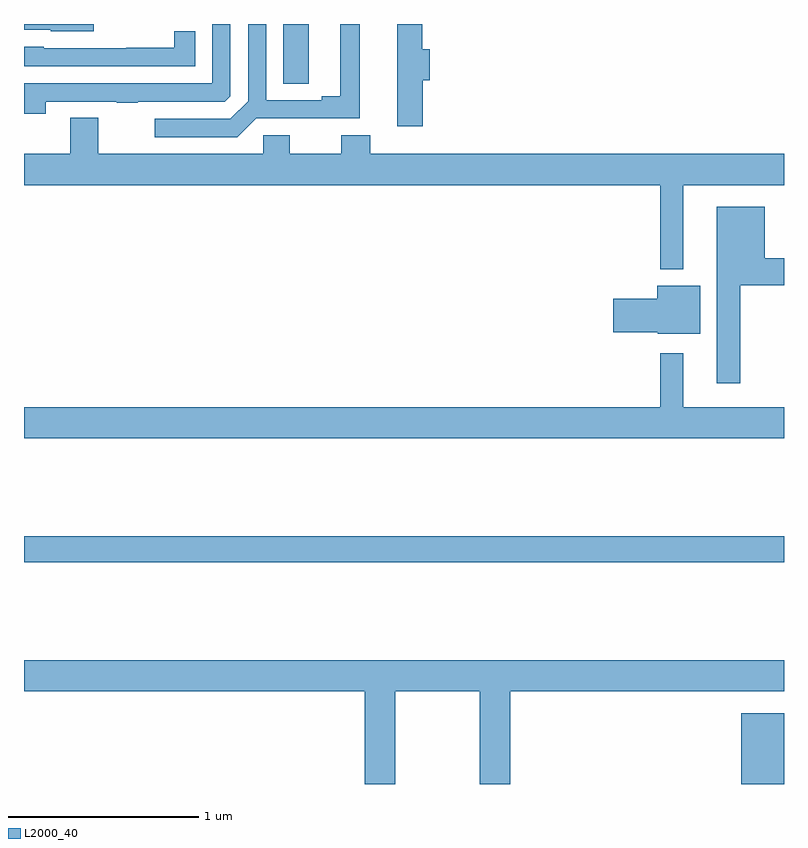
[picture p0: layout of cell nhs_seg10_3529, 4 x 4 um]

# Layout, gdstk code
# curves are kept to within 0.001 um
import gdstk
lib = gdstk.Library(unit=1e-6, precision=1e-09)
def R(c, l, rs):  # rectangles x0, y0, x1, y1
    for r in rs: c.add(gdstk.rectangle(r[:2], r[2:], *l))
def P(c, l, *ps):  # polygons
    for p in ps: c.add(gdstk.Polygon(p, *l))
L2000_40 = (2000, 40)

nhs_seg10_3529 = lib.new_cell('nhs_seg10_3529')
R(nhs_seg10_3529, L2000_40, [(306.776,1294.5,307,1294.873), (303,1295.668,307,1295.804), (304.364,1298.185,304.498,1298.5)])
P(nhs_seg10_3529, L2000_40, [(303.366,1298.5),(303,1298.5),(303,1298.469),(303.141,1298.469),(303.141,1298.463),(303.366,1298.463)],
  [(303.114,1298.091),(303.487,1298.091),(303.487,1298.086),(303.599,1298.086),(303.599,1298.091),(304.056,1298.091),(304.086,1298.121),(304.086,1298.5),(303.989,1298.5),(303.99,1298.187),(303,1298.187),(303,1298.028),(303.114,1298.028)],
  [(305.099,1298.203),(305.135,1298.203),(305.135,1298.368),(305.096,1298.368),(305.096,1298.5),(304.964,1298.5),(304.964,1297.962),(305.099,1297.962)],
  [(304.222,1298.004),(304.768,1298.004),(304.768,1298.5),(304.664,1298.5),(304.664,1298.12),(304.568,1298.12),(304.568,1298.1),(304.275,1298.1),(304.275,1298.5),(304.179,1298.5),(304.179,1298.094),(304.086,1298.001),(303.687,1298.001),(303.687,1297.905),(304.123,1297.905)],
  [(303.9,1298.462),(303.792,1298.462),(303.792,1298.374),(303.537,1298.374),(303.537,1298.373),(303.105,1298.373),(303.105,1298.38),(303,1298.38),(303,1298.277),(303.9,1298.277)],
  [(304.26,1297.914),(304.26,1297.816),(303.391,1297.816),(303.391,1298.006),(303.244,1298.006),(303.244,1297.816),(303,1297.816),(303,1297.652),(306.348,1297.652),(306.348,1297.208),(306.469,1297.208),(306.469,1297.652),(307,1297.652),(307,1297.816),(304.823,1297.816),(304.823,1297.915),(304.67,1297.915),(304.67,1297.816),(304.399,1297.816),(304.399,1297.914)],
  [(306.769,1297.124),(307,1297.124),(307,1297.266),(306.898,1297.266),(306.898,1297.537),(306.647,1297.537),(306.647,1296.609),(306.769,1296.609)],
  [(306.559,1297.123),(306.332,1297.123),(306.332,1297.055),(306.102,1297.055),(306.102,1296.877),(306.336,1296.877),(306.336,1296.869),(306.559,1296.869)],
  [(307,1296.484),(306.469,1296.484),(306.469,1296.766),(306.348,1296.766),(306.348,1296.484),(303,1296.484),(303,1296.32),(307,1296.32)],
  [(304.953,1294.988),(305.398,1294.988),(305.398,1294.5),(305.558,1294.5),(305.558,1294.988),(307,1294.988),(307,1295.152),(303,1295.152),(303,1294.988),(304.793,1294.988),(304.793,1294.5),(304.953,1294.5)])

lib.write_gds('nhs_seg10_3529.gds')
